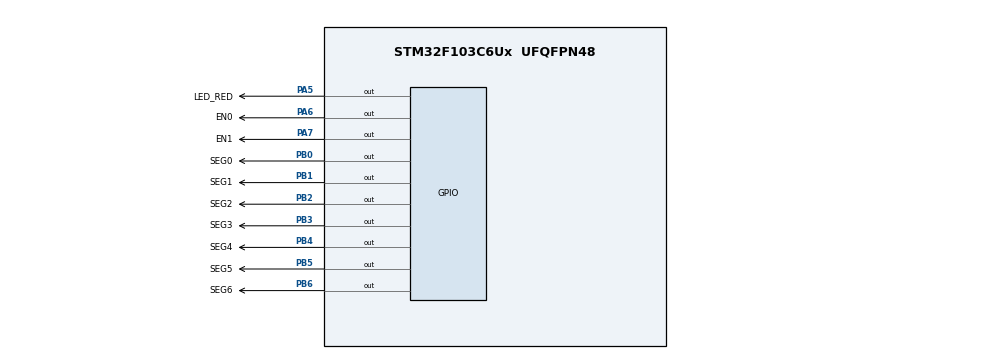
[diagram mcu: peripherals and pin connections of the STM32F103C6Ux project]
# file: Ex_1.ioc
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Mcu.Family=STM32F1
Mcu.Name=STM32F103C6Ux
Mcu.Package=UFQFPN48
NVIC.PriorityGroup=NVIC_PRIORITYGROUP_4
NVIC.TIM2_IRQn=true\:0\:0\:false\:false\:true\:true\:true
PA5.GPIO_Label=LED_RED
PA5.Signal=GPIO_Output
PA6.GPIO_Label=EN0
PA6.Signal=GPIO_Output
PA7.GPIO_Label=EN1
PA7.Signal=GPIO_Output
PB0.GPIO_Label=SEG0
PB0.Signal=GPIO_Output
PB1.GPIO_Label=SEG1
PB1.Signal=GPIO_Output
PB2.GPIO_Label=SEG2
PB2.Signal=GPIO_Output
PB3.GPIO_Label=SEG3
PB3.Signal=GPIO_Output
PB4.GPIO_Label=SEG4
PB4.Signal=GPIO_Output
PB5.GPIO_Label=SEG5
PB5.Signal=GPIO_Output
PB6.GPIO_Label=SEG6
PB6.Signal=GPIO_Output
ProjectManager.HeapSize=0x200
ProjectManager.StackSize=0x400
ProjectManager.TargetToolchain=STM32CubeIDE
RCC.APB1Freq_Value=8000000
RCC.APB2Freq_Value=8000000
TIM2.Period=9
TIM2.Prescaler=7999
VP_SYS_VS_ND.Mode=No_Debug
VP_TIM2_VS_ClockSourceINT.Mode=Internal
board=custom

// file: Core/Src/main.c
/* USER CODE BEGIN Header */
/**
  ******************************************************************************
  * @file           : main.c
  * @brief          : Main program body
  ******************************************************************************
  * @attention
  *
  * <h2><center>&copy; Copyright (c) 2023 STMicroelectronics.
  * All rights reserved.</center></h2>
  *
  * This software component is licensed by ST under BSD 3-Clause license,
  * the "License"; You may not use this file except in compliance with the
  * License. You may obtain a copy of the License at:
  *                        opensource.org/licenses/BSD-3-Clause
  *
  ******************************************************************************
  */
/* USER CODE END Header */
#include "main.h"

TIM_HandleTypeDef htim2;

void SystemClock_Config(void);
static void MX_GPIO_Init(void);
static void MX_TIM2_Init(void);
/* USER CODE BEGIN PFP */
void display7SEG(int num);
/* USER CODE END PFP */

int main(void)
{

  /* MCU Configuration--------------------------------------------------------*/

  /* Reset of all peripherals, Initializes the Flash interface and the Systick. */
  HAL_Init();

  /* Configure the system clock */
  SystemClock_Config();

  /* Initialize all configured peripherals */
  MX_GPIO_Init();
  MX_TIM2_Init();
  /* USER CODE BEGIN 2 */
  HAL_TIM_Base_Start_IT (& htim2 ) ;
  /* USER CODE END 2 */

  /* Infinite loop */
  while (1)
  {

  }
}

void SystemClock_Config(void)
{
  RCC_OscInitTypeDef RCC_OscInitStruct = {0};
  RCC_ClkInitTypeDef RCC_ClkInitStruct = {0};

  /** Initializes the RCC Oscillators according to the specified parameters
  * in the RCC_OscInitTypeDef structure.
  */
  RCC_OscInitStruct.OscillatorType = RCC_OSCILLATORTYPE_HSI;
  RCC_OscInitStruct.HSIState = RCC_HSI_ON;
  RCC_OscInitStruct.HSICalibrationValue = RCC_HSICALIBRATION_DEFAULT;
  RCC_OscInitStruct.PLL.PLLState = RCC_PLL_NONE;
  if (HAL_RCC_OscConfig(&RCC_OscInitStruct) != HAL_OK)
  {
    Error_Handler();
  }
  /** Initializes the CPU, AHB and APB buses clocks
  */
  RCC_ClkInitStruct.ClockType = RCC_CLOCKTYPE_HCLK|RCC_CLOCKTYPE_SYSCLK
                              |RCC_CLOCKTYPE_PCLK1|RCC_CLOCKTYPE_PCLK2;
  RCC_ClkInitStruct.SYSCLKSource = RCC_SYSCLKSOURCE_HSI;
  RCC_ClkInitStruct.AHBCLKDivider = RCC_SYSCLK_DIV1;
  RCC_ClkInitStruct.APB1CLKDivider = RCC_HCLK_DIV1;
  RCC_ClkInitStruct.APB2CLKDivider = RCC_HCLK_DIV1;

  if (HAL_RCC_ClockConfig(&RCC_ClkInitStruct, FLASH_LATENCY_0) != HAL_OK)
  {
    Error_Handler();
  }
}

static void MX_TIM2_Init(void)
{

  TIM_ClockConfigTypeDef sClockSourceConfig = {0};
  TIM_MasterConfigTypeDef sMasterConfig = {0};

  htim2.Instance = TIM2;
  htim2.Init.Prescaler = 7999;
  htim2.Init.CounterMode = TIM_COUNTERMODE_UP;
  htim2.Init.Period = 9;
  htim2.Init.ClockDivision = TIM_CLOCKDIVISION_DIV1;
  htim2.Init.AutoReloadPreload = TIM_AUTORELOAD_PRELOAD_DISABLE;
  if (HAL_TIM_Base_Init(&htim2) != HAL_OK)
  {
    Error_Handler();
  }
  sClockSourceConfig.ClockSource = TIM_CLOCKSOURCE_INTERNAL;
  if (HAL_TIM_ConfigClockSource(&htim2, &sClockSourceConfig) != HAL_OK)
  {
    Error_Handler();
  }
  sMasterConfig.MasterOutputTrigger = TIM_TRGO_RESET;
  sMasterConfig.MasterSlaveMode = TIM_MASTERSLAVEMODE_DISABLE;
  if (HAL_TIMEx_MasterConfigSynchronization(&htim2, &sMasterConfig) != HAL_OK)
  {
    Error_Handler();
  }

}

static void MX_GPIO_Init(void)
{
  GPIO_InitTypeDef GPIO_InitStruct = {0};

  /* GPIO Ports Clock Enable */
  __HAL_RCC_GPIOA_CLK_ENABLE();
  __HAL_RCC_GPIOB_CLK_ENABLE();

  /*Configure GPIO pin Output Level */
  HAL_GPIO_WritePin(GPIOA, LED_RED_Pin|EN0_Pin|EN1_Pin, GPIO_PIN_RESET);

  /*Configure GPIO pin Output Level */
  HAL_GPIO_WritePin(GPIOB, SEG0_Pin|SEG1_Pin|SEG2_Pin|SEG3_Pin
                          |SEG4_Pin|SEG5_Pin|SEG6_Pin, GPIO_PIN_RESET);

  /*Configure GPIO pins : LED_RED_Pin EN0_Pin EN1_Pin */
  GPIO_InitStruct.Pin = LED_RED_Pin|EN0_Pin|EN1_Pin;
  GPIO_InitStruct.Mode = GPIO_MODE_OUTPUT_PP;
  GPIO_InitStruct.Pull = GPIO_NOPULL;
  GPIO_InitStruct.Speed = GPIO_SPEED_FREQ_LOW;
  HAL_GPIO_Init(GPIOA, &GPIO_InitStruct);

  /*Configure GPIO pins : SEG0_Pin SEG1_Pin SEG2_Pin SEG3_Pin
                           SEG4_Pin SEG5_Pin SEG6_Pin */
  GPIO_InitStruct.Pin = SEG0_Pin|SEG1_Pin|SEG2_Pin|SEG3_Pin
                          |SEG4_Pin|SEG5_Pin|SEG6_Pin;
  GPIO_InitStruct.Mode = GPIO_MODE_OUTPUT_PP;
  GPIO_InitStruct.Pull = GPIO_NOPULL;
  GPIO_InitStruct.Speed = GPIO_SPEED_FREQ_LOW;
  HAL_GPIO_Init(GPIOB, &GPIO_InitStruct);

}

/* USER CODE BEGIN 4 */
enum State { LED1, LED2 };
int counter = 50;
enum State current = LED1;
void HAL_TIM_PeriodElapsedCallback(TIM_HandleTypeDef *htim) {
	switch (current) {
	case LED1:
		if(counter <= 0) {
			HAL_GPIO_WritePin(GPIOA, EN0_Pin, GPIO_PIN_SET);
			HAL_GPIO_WritePin(GPIOA, EN1_Pin, GPIO_PIN_RESET);
			HAL_GPIO_TogglePin(LED_RED_GPIO_Port , LED_RED_Pin);
			display7SEG(2);
			current = LED2;
			counter = 50;
		}
		break;
	case LED2:
		if(counter <= 0) {
			HAL_GPIO_WritePin(GPIOA, EN0_Pin, GPIO_PIN_RESET);
			HAL_GPIO_WritePin(GPIOA, EN1_Pin, GPIO_PIN_SET);
			display7SEG(1);
			current = LED1;
			counter = 50;
		}
		break;
	}
	counter--;
}

void display7SEG(int num) {
	switch (num) {
	case 0:
		HAL_GPIO_WritePin(GPIOB, SEG6_Pin, GPIO_PIN_SET);
		HAL_GPIO_WritePin(GPIOB, SEG0_Pin|SEG1_Pin|SEG2_Pin|
				SEG3_Pin|SEG4_Pin|SEG5_Pin, GPIO_PIN_RESET);
		break;
	case 1:
		HAL_GPIO_WritePin(GPIOB, SEG0_Pin|
				SEG3_Pin|SEG4_Pin|SEG5_Pin|SEG6_Pin, GPIO_PIN_SET);
		HAL_GPIO_WritePin(GPIOB, SEG1_Pin|SEG2_Pin, GPIO_PIN_RESET);
		break;
	case 2:
		HAL_GPIO_WritePin(GPIOB, SEG2_Pin|SEG5_Pin, GPIO_PIN_SET);
		HAL_GPIO_WritePin(GPIOB, SEG0_Pin|SEG1_Pin|
				SEG3_Pin|SEG4_Pin|SEG6_Pin, GPIO_PIN_RESET);
		break;
	case 3:
		HAL_GPIO_WritePin(GPIOB, SEG4_Pin|SEG5_Pin, GPIO_PIN_SET);
		HAL_GPIO_WritePin(GPIOB, SEG0_Pin|SEG1_Pin|SEG2_Pin|
				SEG3_Pin|SEG6_Pin, GPIO_PIN_RESET);
		break;
	case 4:
		HAL_GPIO_WritePin(GPIOB, SEG0_Pin|SEG3_Pin|SEG4_Pin, GPIO_PIN_SET);
		HAL_GPIO_WritePin(GPIOB, SEG1_Pin|SEG2_Pin|
				SEG5_Pin|SEG6_Pin, GPIO_PIN_RESET);
		break;
	case 5:
		HAL_GPIO_WritePin(GPIOB, SEG1_Pin|SEG4_Pin, GPIO_PIN_SET);
		HAL_GPIO_WritePin(GPIOB, SEG0_Pin|SEG2_Pin|SEG3_Pin|
				SEG5_Pin|SEG6_Pin, GPIO_PIN_RESET);
		break;
	case 6:
		HAL_GPIO_WritePin(GPIOB, SEG1_Pin, GPIO_PIN_SET);
		HAL_GPIO_WritePin(GPIOB, SEG0_Pin|SEG2_Pin|SEG3_Pin|SEG4_Pin|
				SEG5_Pin|SEG6_Pin, GPIO_PIN_RESET);
		break;
	case 7:
		HAL_GPIO_WritePin(GPIOB, SEG3_Pin|SEG4_Pin|
				SEG5_Pin|SEG6_Pin, GPIO_PIN_SET);
		HAL_GPIO_WritePin(GPIOB, SEG0_Pin|SEG1_Pin|SEG2_Pin, GPIO_PIN_RESET);
		break;
	case 8:
		HAL_GPIO_WritePin(GPIOB, SEG0_Pin|SEG1_Pin|SEG2_Pin|SEG3_Pin|SEG4_Pin|
				SEG5_Pin|SEG6_Pin, GPIO_PIN_RESET);
		break;
	case 9:
		HAL_GPIO_WritePin(GPIOB, SEG4_Pin, GPIO_PIN_SET);
		HAL_GPIO_WritePin(GPIOB, SEG0_Pin|SEG1_Pin|SEG2_Pin|SEG3_Pin|
				SEG5_Pin|SEG6_Pin, GPIO_PIN_RESET);
		break;
	default:
		HAL_GPIO_WritePin(GPIOB, SEG0_Pin|SEG1_Pin|SEG2_Pin|SEG3_Pin|SEG4_Pin|
				SEG5_Pin|SEG6_Pin, GPIO_PIN_SET);
		break;
	}
}
/* USER CODE END 4 */

void Error_Handler(void)
{
  __disable_irq();
  while (1)
  {
  }
}

/************************ (C) COPYRIGHT STMicroelectronics *****END OF FILE****/
